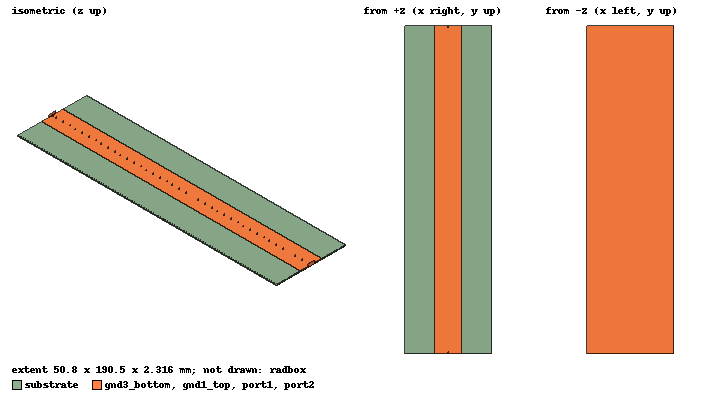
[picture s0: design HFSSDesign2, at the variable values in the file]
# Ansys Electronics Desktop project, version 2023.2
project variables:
  $w_lin = 0.53789169mm
  $d = 0.11434763mm
  $x = 0.21089756mm  # optimise 0.2mm..0.6mm
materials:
  vacuum: permittivity=1
  FR4_epoxy: permittivity=4.4 dielectric_loss_tangent=0.02
  air: permittivity=1.0006 permeability=1.0000004
  rhodium: conductivity=22200000
  Rogers RO4350 (tm): permittivity=3.66 dielectric_loss_tangent=0.004
  copper: permeability=0.999991 conductivity=58000000
  solder: conductivity=7000000

design HFSSDesign2 (HFSS, HFSS Modal Network, model units mm)
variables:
  w = 50.8mm
  l = 190.5mm
  h_sub = 0.508mm
  h_gnd3 = 0.03556mm
  w_lin = 1.04mm
  h_sig = 0.03556mm
  w_gnd_top = 7.5mm
  h_ges = h_gnd3+h_sig+h_sub
  pos_gnd1 = w/2-$w_lin/2-$d-w_gnd_top
  pos_lin = w/2-$w_lin/2
  pos_gnd2 = w/2+$w_lin/2+$d
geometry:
  radbox [air] = box(corner=(-15mm, 0mm, -15mm), size=(w+30mm, l, h_ges+30mm))
  gnd3_bottom [copper] = box(corner=(0mm, 0mm, 0mm), size=(w, l, h_gnd3))
  substrate [Rogers RO4350 (tm)] = box(corner=(0mm, 0mm, h_gnd3), size=(w, l, h_sub))
  line1 = box(corner=(pos_lin, 1mm, h_gnd3+h_sub), size=($w_lin, l-2mm, h_sig))
  gnd1_top [copper] = box(corner=(pos_gnd1, 1mm, h_gnd3+h_sub), size=(w_gnd_top, l-2mm, h_sig))
  gnd2_top = box(corner=(pos_gnd2, 1mm, h_gnd3+h_sub), size=(w_gnd_top, l-2mm, h_sig))
  port1 = rectangle(corner=(w/2-$w_lin*5, 0mm, 0mm), z_size=h_ges*4, x_size=$w_lin*10)
  port2 = rectangle(corner=(w/2-$w_lin*5, l, 0mm), z_size=h_ges*4, x_size=$w_lin*10)
  gnd1_top.unite(gnd2_top)
  via1 [copper] = cylinder(axis=Z, base_centre=(23.32mm, 2mm, h_gnd3), radius=0.2mm, height=h_sub)
  via1_1..via1_78 [copper] = via1.duplicate_along_line(step=(0mm, 2.4mm, 0mm), total=300)  # copies kept: 1..78
  via2 [copper] = cylinder(axis=Z, base_centre=(27.48mm, 2mm, h_gnd3), radius=0.2mm, height=h_sub)
  via2_1..via2_78 [copper] = via2.duplicate_along_line(step=(0mm, 2.4mm, 0mm), total=79)
  coordinate_system RelativeCS1 = origin=(17.516707mm, 0mm, 0.57912mm) x=(1mm, 0mm, 0mm) y=(0mm, 1mm, 0mm)
  in = polyline(z=-h_sig, xy in mm: (7.73325, 0) (8.03325, 0) (8.03325, 0.5) (8.1522, 1) (7.61431, 1) (7.73325, 0.5) (7.73325, 0), closed, covered) in RelativeCS1
  in.thicken(h_sig)
  out = polyline(z=-h_sig, xy in mm: (7.73325, 0) (8.03325, 0) (8.03325, 0.5) (8.1522, 1) (7.61431, 1) (7.73325, 0.5) (7.73325, 0), closed, covered) in RelativeCS1
  out.thicken(h_sig)
  out.mirror(point=(7.73325mm, 0mm, 0mm), normal=(0mm, 1mm, 0mm)) in RelativeCS1
  out.move(0mm, 190.5mm, 0mm) in RelativeCS1
  coordinate_system RelativeCS2 = origin=(50.8mm, 0mm, 0mm) x=(0mm, 10mm, 0mm) y=(-8mm, 0mm, 0mm)
  solder2 [solder] = rectangle(corner=(25.249957mm, 0mm, 0.57912mm), x_size=0.3mm, y_size=1mm)
  solder2.thicken(0.6mm)
  solder1 [solder] = rectangle(corner=(25.249957mm, 0mm, 0.57912mm), x_size=0.3mm, y_size=1mm)
  solder1.thicken(0.6mm)
  solder1.move(-3.5527137e-15mm, 189.5mm, -3.01056mm)
  solder1.move(0mm, 0mm, 3.01056mm)
  in_bot = polyline(z=h_ges, xy: (25.54995652mm+$x, 0mm) (25.54995652mm+$x, 0.5mm) (25.783293mm, 1mm) (33.283293mm, 1mm) (33.283293mm, 0mm) (25.54995652mm+$x, 0mm), closed, covered)
  in_bot.thicken(h_sig)
  in_top = polyline(z=h_ges, xy: (25.54995652mm+$x, 0mm) (25.54995652mm+$x, 0.5mm) (25.783293mm, 1mm) (33.283293mm, 1mm) (33.283293mm, 0mm) (25.54995652mm+$x, 0mm), closed, covered)
  in_top.thicken(h_sig)
  in_top.mirror(point=(33.283293mm, 1mm, 0.57912mm), normal=(-1mm, 0mm, 0mm))
  in_top.move(-15.766587mm, 0mm, 1.110223e-16mm)
  out_top = polyline(z=h_ges, xy: (25.54995652mm+$x, 0mm) (25.54995652mm+$x, 0.5mm) (25.783293mm, 1mm) (33.283293mm, 1mm) (33.283293mm, 0mm) (25.54995652mm+$x, 0mm), closed, covered)
  out_top.thicken(h_sig)
  out_top.mirror(point=(33.283293mm, 1mm, 0.57912mm), normal=(-1mm, 0mm, 0mm))
  out_top.move(-15.766587mm, 0mm, 1.110223e-16mm)
  out_top.mirror(point=(17.516707mm, 0mm, 0.57912mm), normal=(0mm, 1mm, 0mm))
  out_top.move(4.6185278e-14mm, 190.5mm, 0mm)
  out_bot = polyline(z=h_ges, xy: (25.54995652mm+$x, 0mm) (25.54995652mm+$x, 0.5mm) (25.783293mm, 1mm) (33.283293mm, 1mm) (33.283293mm, 0mm) (25.54995652mm+$x, 0mm), closed, covered)
  out_bot.thicken(h_sig)
  out_bot.mirror(point=(33.283293mm, 1mm, 0.57912mm), normal=(-1mm, 0mm, 0mm))
  out_bot.move(-15.766587mm, 0mm, 1.110223e-16mm)
  out_bot.mirror(point=(17.516707mm, 0mm, 0.57912mm), normal=(0mm, 1mm, 0mm))
  out_bot.move(4.6185278e-14mm, 190.5mm, 0mm)
  out_bot.mirror(point=(17.516707mm, 189.5mm, 0.57912mm), normal=(1mm, 0mm, 0mm))
  out_bot.move(15.766587mm, 0mm, -1.110223e-16mm)
  gnd1_top.unite(in, in_bot, in_top, line1, out, out_bot, out_top)
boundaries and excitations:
  Rad1: Radiation Objects=radbox
  1: Wave Port Objects=port1 WavePortType=Modal NumModes=1 Modes{Mode1{CharImp=Zpi RenormImp=50ohm}}
  2: Wave Port Objects=port2 WavePortType=Modal NumModes=1 Modes{Mode1{CharImp=Zpi RenormImp=50ohm}}
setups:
  Setup1: HfssDriven Frequency=10GHz MaxDeltaS=0.02 MaximumPasses=20 MinimumPasses=1 MinimumConvergedPasses=1 PercentRefinement=30 BasisOrder=1 PortAccuracy=2 DrivenSolverType="Direct Solver"
    sweep Sweep_fast: 1GHz to 20GHz step 0.2GHz; Type=Discrete
    sweep Sweep: 1GHz to 20GHz step 0.1GHz; Type=Discrete
    sweep Sweep_fine: 0.01GHz to 20GHz step 0.01GHz; Type=Discrete
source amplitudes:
  1:1: 1W 0deg
  2:1: 0W 0deg
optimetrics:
  OptimizationSetup1: Optimization Optimizer="Genetic Algorithm" AnalysisStopOptions{StopForNumIteration MaxNumIteration=20 MinNumIteration=10} CostFuncNormType=L2 GAOptions{NumParents=30 ProportionOfParentSelProb=10 MatingPoolSize=30 NumChildren=30 NumParetoSurvivors=10 PopulationSize=30 RouletteSurvivorSelection ProportionOfSurvivorSelProb=10 CrossoverScheme=3 CrossoverProbability=1 VariableCrossoverProbability=1 VariableExchangeProbability=0 MuCross=1 GammaCross=0.5 NumMatingParents=2 MutationDistribution=2 UniformMutationProbability=0 MutationProbability=1 VariableMutationProbability=1 SigmaMut=0.05 SimplexMirrorProbability=0.1 MuMut=10} Acceptable_Cost=0 Noise=0.0001 UpdateDesignWhenDone
    vary $x: Min=0.1mm Max=0.6mm MinStep=0.004mm MaxStep=0.04mm MinFocus=0.11435mm MaxFocus=0.4mm start=0.4mm
    goal dB(S(1,1)) <= -20 weight 1 on Setup1 : Sweep_fast at Freq 1GHz to 20GHz
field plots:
  Mag_E1: E Field in substrate on Setup1 : LastAdaptive at Freq=10GHz Phase=0deg
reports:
  Port Zo Plot 1: mag(Zo(1)), mag(Zo(2)) vs Freq on Setup1 : Sweep [w_gnd_top=all]
  S Parameter Plot 1: dB(S(1,1)), dB(S(2,1)), dB(S(1,2)), dB(S(2,2)) vs Freq on Setup1 : Sweep; markers m1 at 18.6GHz, m2 at 19.7GHz
  S Parameter Plot 2: dB(S(1,1)), dB(S(2,1)), dB(S(1,2)), dB(S(2,2)) vs Freq on Setup1 : Sweep_fine
